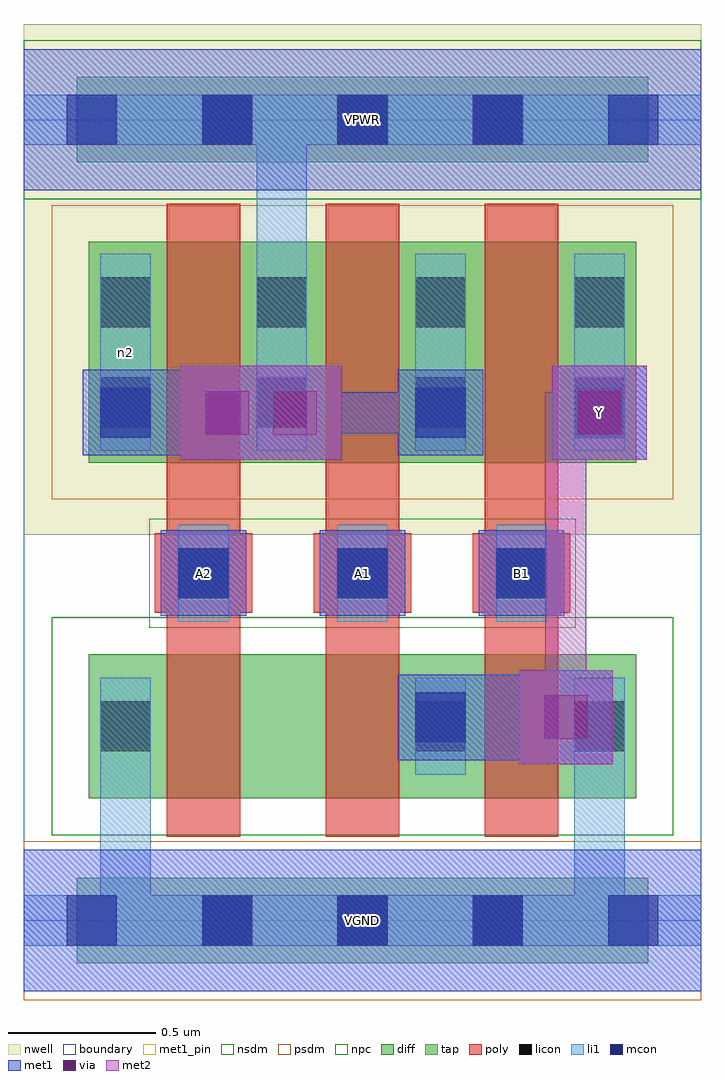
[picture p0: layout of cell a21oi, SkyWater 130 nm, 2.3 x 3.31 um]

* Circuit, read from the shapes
.subckt a21oi A1 A2 B1 VGND VPWR Y n2
XM1 n1 A2 VGND VGND sky130_fd_pr__nfet_01v8 w=0.49 l=0.25
XM2 Y A1 n1 VGND sky130_fd_pr__nfet_01v8 w=0.49 l=0.25
XM3 VGND B1 Y VGND sky130_fd_pr__nfet_01v8 w=0.49 l=0.25
XM4 VPWR A2 n2 VPWR sky130_fd_pr__pfet_01v8 w=0.75 l=0.25
XM5 n2 A1 VPWR VPWR sky130_fd_pr__pfet_01v8 w=0.75 l=0.25
XM6 Y B1 n2 VPWR sky130_fd_pr__pfet_01v8 w=0.75 l=0.25
.ends

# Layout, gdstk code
import gdstk
lib = gdstk.Library(unit=1e-6, precision=1e-09)
def R(c, l, rs):  # rectangles x0, y0, x1, y1
    for r in rs: c.add(gdstk.rectangle(r[:2], r[2:], *l))
def A(c, l, x, y, w, h, nx, ny, dx, dy):  # array of equal rectangles
    R(c, l, [(x+i*dx, y+j*dy, x+i*dx+w, y+j*dy+h) for i in range(nx) for j in range(ny)])
nwell = (64, 20)
diff = (65, 20)
tap = (65, 44)
poly = (66, 20)
licon = (66, 44)
li1 = (67, 20)
mcon = (67, 44)
met1_pin = (68, 16)
met1 = (68, 20)
via = (68, 44)
met2 = (69, 20)
nsdm = (93, 44)
psdm = (94, 20)
npc = (95, 20)
boundary = (235, 4)

a21oi = lib.new_cell('a21oi')
R(a21oi, nwell, [(0,1.31,2.3,3.045)])
R(a21oi, diff, [(0.22,0.415,2.08,0.905), (0.22,1.555,2.08,2.305)])
R(a21oi, tap, [(0.18,-0.145,2.12,0.145), (0.18,2.575,2.12,2.865)])
A(a21oi, poly, 0.485, 0.285, 0.25, 2.15, 3, 1, 0.54, 0)
A(a21oi, poly, 0.445, 1.045, 0.33, 0.27, 3, 1, 0.54, 0)
A(a21oi, licon, 0.605, -0.085, 0.17, 0.17, 3, 2, 0.46, 2.72)
A(a21oi, licon, 0.525, 1.095, 0.17, 0.17, 3, 1, 0.54, 0)
A(a21oi, licon, 0.79, 1.675, 0.17, 0.17, 3, 2, 0.54, 0.34)
R(a21oi, licon, [(0.26,0.575,0.43,0.745), (1.33,0.575,1.5,0.745), (1.87,0.575,2.04,0.745), (0.26,1.675,0.43,1.845), (0.26,2.015,0.43,2.185)])
A(a21oi, li1, 0.525, 1.015, 0.17, 0.33, 3, 1, 0.54, 0)
A(a21oi, li1, 0.79, 1.595, 0.17, 0.67, 3, 1, 0.54, 0)
R(a21oi, li1, [(0,-0.085,2.3,0.085), (0.26,-0.085,0.43,0.825), (1.87,-0.085,2.04,0.825), (0.26,0.495,0.43,0.825), (1.33,0.495,1.5,0.825), (1.87,0.495,2.04,0.825), (0.26,1.595,0.43,2.265), (0.79,1.595,0.96,2.805), (0,2.635,2.3,2.805)])
A(a21oi, mcon, 0.145, -0.085, 0.17, 0.17, 5, 2, 0.46, 2.72)
A(a21oi, mcon, 0.525, 1.095, 0.17, 0.17, 3, 1, 0.54, 0)
R(a21oi, mcon, [(1.33,0.605,1.5,0.775), (0.26,1.64,0.43,1.81), (1.33,1.64,1.5,1.81), (1.87,1.64,2.04,1.81)])
A(a21oi, met1_pin, 0.465, 1.035, 0.29, 0.29, 3, 1, 0.54, 0)
R(a21oi, met1_pin, [(0,-0.24,2.3,0.24), (1.795,1.565,2.115,1.885), (0,2.48,2.3,2.96)])
A(a21oi, met1, 0.465, 1.035, 0.29, 0.29, 3, 1, 0.54, 0)
R(a21oi, met1, [(0,-0.24,2.3,0.24), (1.68,0.53,2,0.85), (1.27,0.545,1.56,0.835), (1.56,0.545,1.68,0.835), (1.345,0.62,1.68,0.76), (1.54,0.62,1.91,0.76), (0.53,1.565,0.85,1.885), (0.76,1.565,1.08,1.885), (1.795,1.565,2.115,1.885), (0.2,1.58,0.49,1.87), (0.49,1.58,0.53,1.87), (1.27,1.58,1.56,1.87), (1.81,1.58,2.1,1.87), (0.275,1.655,0.76,1.795), (0.85,1.655,1.335,1.795), (1.195,1.655,1.485,1.795), (0,2.48,2.3,2.96)])
R(a21oi, via, [(1.765,0.615,1.915,0.765), (0.615,1.65,0.765,1.8), (0.845,1.65,0.995,1.8), (1.88,1.65,2.03,1.8)])
R(a21oi, met2, [(1.68,0.53,2,0.85), (1.77,0.62,1.91,1.795), (0.53,1.565,0.85,1.885), (0.76,1.565,1.08,1.885), (1.795,1.565,2.115,1.885), (0.62,1.655,0.99,1.795), (1.77,1.655,2.025,1.795)])
R(a21oi, nsdm, [(0.095,0.29,2.205,1.03), (0,2.45,2.3,2.99)])
R(a21oi, psdm, [(0,-0.27,2.3,0.27), (0.095,1.43,2.205,2.43)])
R(a21oi, npc, [(0.425,0.995,1.875,1.365)])
R(a21oi, boundary, [(0,0,2.3,2.72)])
a21oi.add(gdstk.Label('n2', (0.345,1.93), layer=67, texttype=5))
a21oi.add(gdstk.Label('A1', (1.15,1.18), layer=68, texttype=5))
a21oi.add(gdstk.Label('A2', (0.61,1.18), layer=68, texttype=5))
a21oi.add(gdstk.Label('B1', (1.69,1.18), layer=68, texttype=5))
a21oi.add(gdstk.Label('Y', (1.955,1.725), layer=68, texttype=5))
a21oi.add(gdstk.Label('VPWR', (1.15,2.72), layer=68, texttype=5))
a21oi.add(gdstk.Label('VGND', (1.15,0), layer=68, texttype=5))
a21oi.add(gdstk.Label('A1', (1.15,1.18), layer=68, texttype=16))
a21oi.add(gdstk.Label('A2', (0.61,1.18), layer=68, texttype=16))
a21oi.add(gdstk.Label('B1', (1.69,1.18), layer=68, texttype=16))
a21oi.add(gdstk.Label('Y', (1.955,1.725), layer=68, texttype=16))
a21oi.add(gdstk.Label('VPWR', (1.15,2.72), layer=68, texttype=16))
a21oi.add(gdstk.Label('VGND', (1.15,0), layer=68, texttype=16))

lib.write_gds('a21oi.gds')
